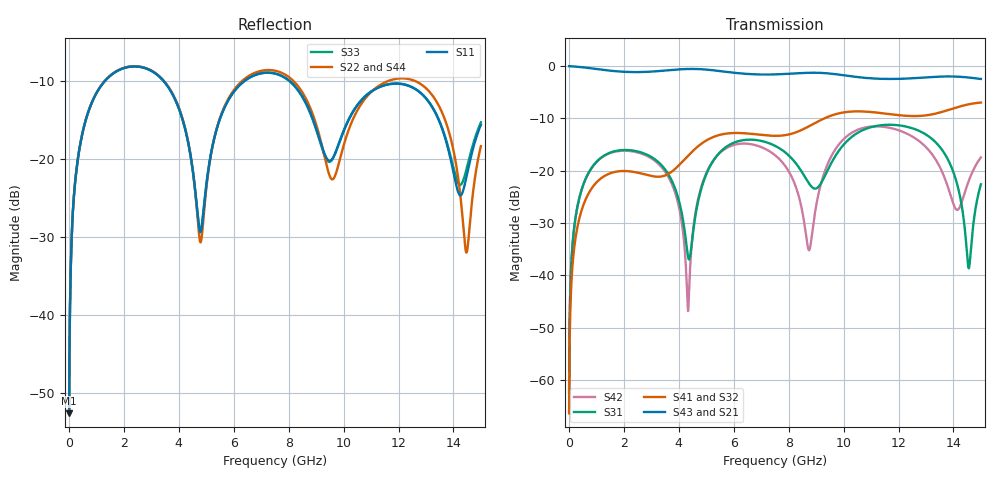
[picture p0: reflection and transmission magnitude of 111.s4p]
! Created with skrf 1.8.0 (http://scikit-rf.org).
# GHz S RI R 50.0
!freq ReS11 ImS11 ReS12 ImS12 ReS13 ImS13
! ReS14 ImS14
! ReS21 ImS21 ReS22 ImS22 ReS23 ImS23
! ReS24 ImS24
! ReS31 ImS31 ReS32 ImS32 ReS33 ImS33
! ReS34 ImS34
! ReS41 ImS41 ReS42 ImS42 ReS43 ImS43
! ReS44 ImS44
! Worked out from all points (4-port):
!   2499 points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, 5 MHz to 15 GHz, reference 50 ohm
!   strongest paths, dB at 5 MHz, 3.476 GHz, 7.19 GHz, 11.1 GHz, 15 GHz:
!     S43: 0.0, -0.9, -1.6, -2.4, -2.5
!     S21: 0.0, -0.9, -1.6, -2.4, -2.5
!     S41: -66.4, -21.0, -13.3, -8.8, -7.0
!     S32: -66.4, -21.0, -13.3, -8.8, -7.0
!     S31: -62.4, -19.6, -14.6, -11.5, -22.6
!     S42: -62.4, -20.0, -15.9, -11.5, -17.5
!   lowest |S11| = -52.6 dB at 5 MHz (marker M1), VSWR 1.00, Z = 50.2 + j0.143 ohm
!   |S11| at or under -10 dB: start of sweep to 1.306 GHz; 3.448 GHz to 6.39 GHz (2.941 GHz wide, 59.8 % of centre); 8.037 GHz to end of sweep
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0.005  0.00187 0.00142  0.9981 -0.00364  9.52e-05 0.000751  -9.23e-05 -0.00047
       0.9981 -0.00364  0.00187 0.00142  -9.23e-05 -0.00047  9.5e-05 0.000751
       9.52e-05 0.000751  -9.23e-05 -0.00047  0.00187 0.00142  0.9981 -0.00364
       -9.23e-05 -0.00047  9.5e-05 0.000751  0.9981 -0.00364  0.00187 0.00142
0.3126303  0.0301 0.0923  0.9587 -0.2254  0.0144 0.0437  -0.0118 -0.0269
           0.9587 -0.2254  0.0302 0.0923  -0.0118 -0.0269  0.014 0.0439
           0.0144 0.0437  -0.0118 -0.0269  0.0301 0.0923  0.9587 -0.2254
           -0.0118 -0.0269  0.014 0.0439  0.9587 -0.2254  0.0302 0.0923
1.469362  0.2937 0.1672  0.494 -0.759  0.1388 0.0506  -0.0937 0.00296
          0.494 -0.759  0.2953 0.166  -0.0937 0.00298  0.1347 0.057
          0.1388 0.0506  -0.0937 0.00298  0.2937 0.1672  0.4941 -0.759
          -0.0937 0.00296  0.1347 0.057  0.4941 -0.759  0.2952 0.166
4.339308  0.0657 -0.1103  -0.8712 -0.348  -0.0135 -0.00632  -0.0477 0.1309
          -0.8712 -0.348  0.061 -0.114  -0.0474 0.1311  -0.00452 -0.000553
          -0.0135 -0.00632  -0.0474 0.1311  0.066 -0.1091  -0.8714 -0.348
          -0.0477 0.1309  -0.00452 -0.000553  -0.8714 -0.348  0.06 -0.1133
5.47103  0.1141 0.1329  -0.8268 0.3492  0.1039 0.1047  0.1128 0.188
         -0.8268 0.3492  0.1136 0.1361  0.1131 0.1877  0.0926 0.1125
         0.1039 0.1047  0.1131 0.1877  0.1154 0.1331  -0.8268 0.3489
         0.1128 0.188  0.0926 0.1125  -0.8268 0.3489  0.1128 0.1374
9.629012  0.1018 0.015  0.835 0.101  -0.0144 0.1277  0.0308 -0.3403
          0.835 0.101  0.0747 -0.00254  0.0302 -0.3404  0.0182 0.1481
          -0.0144 0.1277  0.0302 -0.3404  0.1008 0.0181  0.8349 0.1021
          0.0308 -0.3403  0.0182 0.1481  0.8349 0.1021  0.075 0.00104
15  0.1183 0.1162  -0.7462 0.1018  0.0719 0.0173  0.0815 0.4406
    -0.7462 0.1018  0.0653 0.1017  0.0852 0.4391  0.1187 0.062
    0.0719 0.0173  0.0852 0.4391  0.1283 0.1144  -0.7471 0.0938
    0.0815 0.4406  0.1187 0.062  -0.7471 0.0938  0.0534 0.1037
